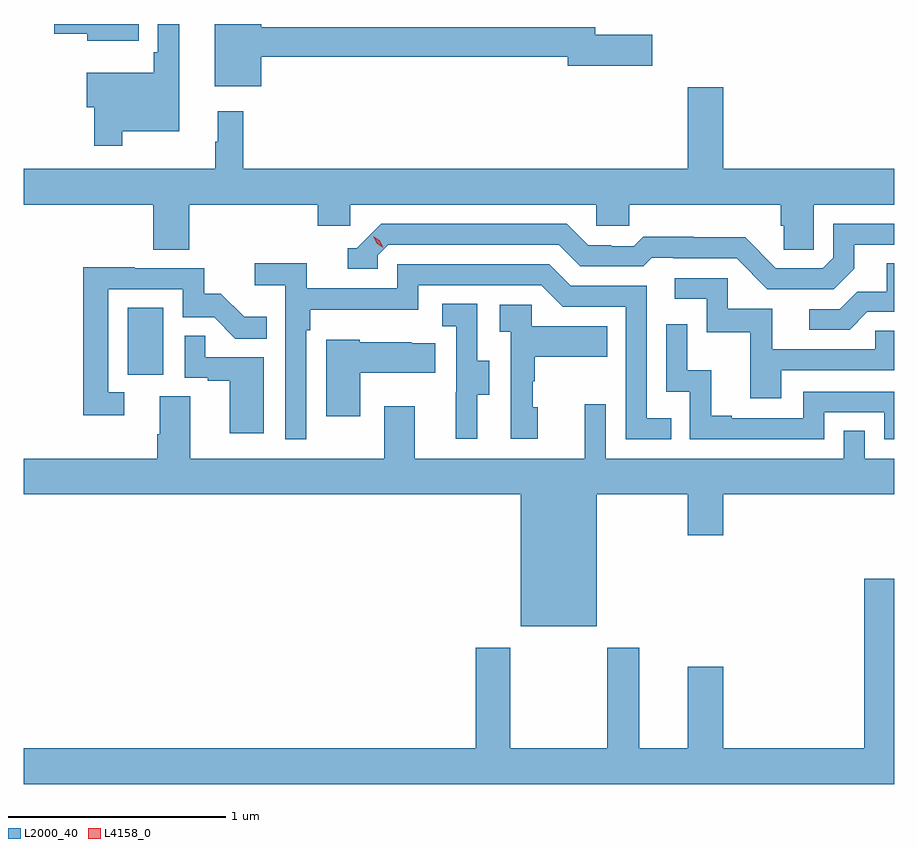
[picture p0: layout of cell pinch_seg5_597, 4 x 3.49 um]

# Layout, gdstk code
import gdstk
lib = gdstk.Library(unit=1e-6, precision=1e-09)
def R(c, l, rs):  # rectangles x0, y0, x1, y1
    for r in rs: c.add(gdstk.rectangle(r[:2], r[2:], *l))
def P(c, l, *ps):  # polygons
    for p in ps: c.add(gdstk.Polygon(p, *l))
L2000_40 = (2000, 40)
L4158_0 = (4158, 0)

pinch_seg5_597 = lib.new_cell('pinch_seg5_597')
R(pinch_seg5_597, L2000_40, [(1097.498,862.638,1097.662,862.945)])
P(pinch_seg5_597, L2000_40, [(1098.112,864.1),(1099.52,864.1),(1099.52,864.058),(1099.909,864.058),(1099.909,864.2),(1099.648,864.2),(1099.648,864.236),(1098.112,864.236),(1098.112,864.25),(1097.897,864.25),(1097.897,863.963),(1098.112,863.963)],
  [(1097.548,864.25),(1097.16,864.25),(1097.16,864.206),(1097.312,864.206),(1097.312,864.173),(1097.548,864.173)],
  [(1097.473,863.756),(1097.734,863.756),(1097.734,864.25),(1097.637,864.25),(1097.637,864.121),(1097.617,864.121),(1097.617,864.025),(1097.31,864.025),(1097.31,863.867),(1097.344,863.867),(1097.344,863.691),(1097.473,863.691)],
  [(1097.78,863.42),(1098.371,863.42),(1098.371,863.322),(1098.522,863.322),(1098.522,863.42),(1099.653,863.42),(1099.653,863.322),(1099.803,863.322),(1099.803,863.42),(1100.501,863.42),(1100.501,863.322),(1100.515,863.322),(1100.515,863.212),(1100.652,863.212),(1100.652,863.42),(1101.021,863.42),(1101.021,863.584),(1100.236,863.584),(1100.236,863.959),(1100.072,863.959),(1100.072,863.584),(1098.029,863.584),(1098.029,863.848),(1097.912,863.848),(1097.912,863.708),(1097.901,863.708),(1097.901,863.584),(1097.021,863.584),(1097.021,863.42),(1097.615,863.42),(1097.615,863.212),(1097.78,863.212)],
  [(1100.839,863.125),(1100.839,863.235),(1101.021,863.235),(1101.021,863.331),(1100.742,863.331),(1100.742,863.175),(1100.694,863.127),(1100.478,863.127),(1100.336,863.269),(1100.1,863.269),(1100.1,863.272),(1099.867,863.272),(1099.825,863.229),(1099.722,863.229),(1099.722,863.232),(1099.615,863.232),(1099.516,863.331),(1098.663,863.331),(1098.552,863.22),(1098.509,863.22),(1098.509,863.124),(1098.648,863.124),(1098.648,863.187),(1098.696,863.235),(1099.479,863.235),(1099.578,863.136),(1099.867,863.136),(1099.906,863.175),(1100.005,863.175),(1100.005,863.172),(1100.298,863.172),(1100.439,863.031),(1100.745,863.031)],
  [(1100.899,862.926),(1101.021,862.926),(1101.021,863.15),(1100.987,863.15),(1100.987,863.018),(1100.852,863.018),(1100.772,862.938),(1100.631,862.938),(1100.631,862.845),(1100.818,862.845)],
  [(1098.318,862.841),(1098.338,862.841),(1098.338,862.937),(1098.834,862.937),(1098.834,863.049),(1099.398,863.049),(1099.497,862.95),(1099.788,862.95),(1099.788,862.341),(1099.997,862.341),(1099.997,862.437),(1099.884,862.437),(1099.884,863.046),(1099.534,863.046),(1099.435,863.145),(1098.738,863.145),(1098.738,863.034),(1098.32,863.034),(1098.32,863.15),(1098.081,863.15),(1098.081,863.048),(1098.222,863.048),(1098.222,862.341),(1098.318,862.341)],
  [(1097.482,862.557),(1097.409,862.557),(1097.409,863.031),(1097.751,863.031),(1097.751,862.902),(1097.895,862.902),(1097.993,862.804),(1098.137,862.804),(1098.137,862.903),(1098.033,862.903),(1097.926,863.01),(1097.85,863.01),(1097.85,863.127),(1097.531,863.127),(1097.531,863.132),(1097.293,863.132),(1097.293,862.452),(1097.482,862.452)],
  [(1100.503,862.659),(1101.021,862.659),(1101.021,862.839),(1100.935,862.839),(1100.935,862.755),(1100.461,862.755),(1100.461,862.941),(1100.256,862.941),(1100.256,863.082),(1100.013,863.082),(1100.013,862.986),(1100.16,862.986),(1100.16,862.833),(1100.359,862.833),(1100.359,862.53),(1100.503,862.53)],
  [(1099.105,862.546),(1099.159,862.546),(1099.159,862.701),(1099.104,862.701),(1099.104,862.964),(1098.945,862.964),(1098.945,862.861),(1099.008,862.861),(1099.008,862.557),(1099.007,862.557),(1099.007,862.344),(1099.105,862.344)],
  [(1099.384,862.488),(1099.359,862.488),(1099.359,862.607),(1099.369,862.607),(1099.369,862.721),(1099.703,862.721),(1099.703,862.861),(1099.356,862.861),(1099.356,862.959),(1099.209,862.959),(1099.209,862.835),(1099.26,862.835),(1099.26,862.344),(1099.384,862.344)],
  [(1100.7,862.464),(1100.976,862.464),(1100.976,862.341),(1101.021,862.341),(1101.021,862.56),(1100.604,862.56),(1100.604,862.437),(1100.275,862.437),(1100.275,862.45),(1100.18,862.45),(1100.18,862.658),(1100.07,862.658),(1100.07,862.87),(1099.974,862.87),(1099.974,862.56),(1100.082,862.56),(1100.082,862.341),(1100.7,862.341)],
  [(1098.124,862.719),(1097.855,862.719),(1097.855,862.817),(1097.76,862.817),(1097.76,862.623),(1097.867,862.623),(1097.867,862.611),(1097.966,862.611),(1097.966,862.368),(1098.124,862.368)],
  [(1098.568,862.646),(1098.911,862.646),(1098.911,862.783),(1098.803,862.783),(1098.803,862.786),(1098.564,862.786),(1098.564,862.798),(1098.41,862.798),(1098.41,862.446),(1098.568,862.446)],
  [(1099.654,862.088),(1100.072,862.088),(1100.072,861.9),(1100.236,861.9),(1100.236,862.088),(1101.021,862.088),(1101.021,862.252),(1100.886,862.252),(1100.886,862.379),(1100.79,862.379),(1100.79,862.252),(1099.695,862.252),(1099.695,862.501),(1099.598,862.501),(1099.598,862.252),(1098.817,862.252),(1098.817,862.492),(1098.677,862.492),(1098.677,862.252),(1097.785,862.252),(1097.785,862.538),(1097.645,862.538),(1097.645,862.364),(1097.633,862.364),(1097.633,862.252),(1097.021,862.252),(1097.021,862.088),(1099.304,862.088),(1099.304,861.482),(1099.654,861.482)],
  [(1101.021,861.7),(1100.885,861.7),(1100.885,860.92),(1100.236,860.92),(1100.236,861.295),(1100.072,861.295),(1100.072,860.92),(1099.849,860.92),(1099.849,861.382),(1099.702,861.382),(1099.702,860.92),(1099.257,860.92),(1099.257,861.382),(1099.097,861.382),(1099.097,860.92),(1097.021,860.92),(1097.021,860.756),(1101.021,860.756)])
P(pinch_seg5_597, L4158_0, [(1098.672,863.221),(1098.642,863.241),(1098.626,863.274),(1098.626,863.274),(1098.626,863.274),(1098.657,863.254),(1098.673,863.222),(1098.673,863.221)])

lib.write_gds('pinch_seg5_597.gds')
